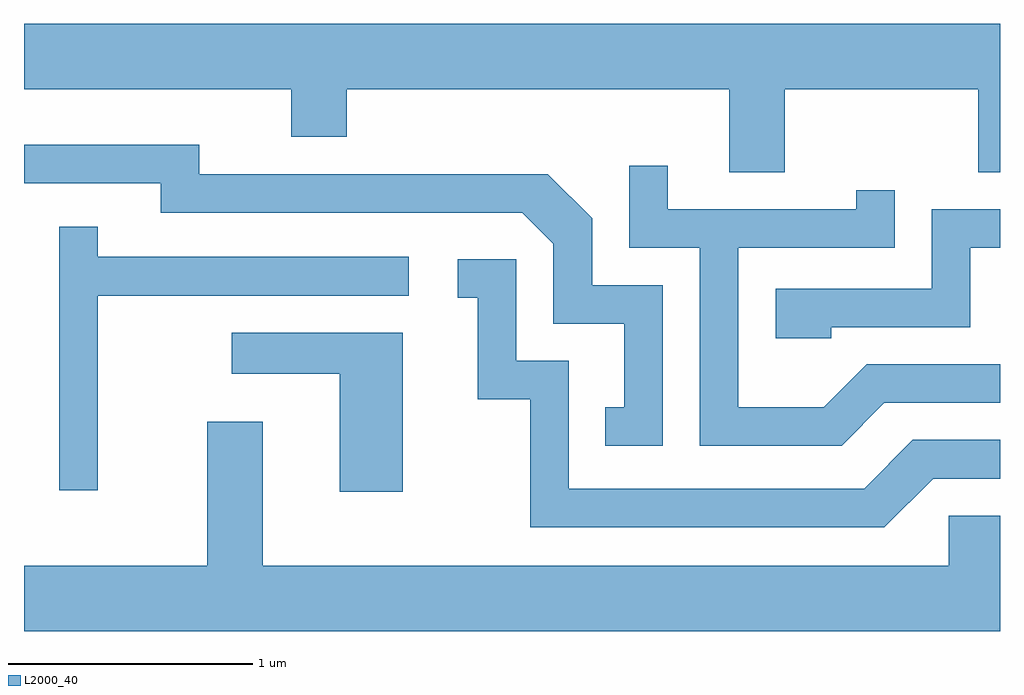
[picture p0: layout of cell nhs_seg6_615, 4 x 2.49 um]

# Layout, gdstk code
import gdstk
lib = gdstk.Library(unit=1e-6, precision=1e-09)
def P(c, l, *ps):  # polygons
    for p in ps: c.add(gdstk.Polygon(p, *l))
L2000_40 = (2000, 40)

nhs_seg6_615 = lib.new_cell('nhs_seg6_615')
P(nhs_seg6_615, L2000_40, [(206.729,1563.356),(207.521,1563.356),(207.521,1563.016),(207.611,1563.016),(207.611,1563.624),(203.611,1563.624),(203.611,1563.356),(204.706,1563.356),(204.706,1563.161),(204.934,1563.161),(204.934,1563.356),(206.501,1563.356),(206.501,1563.016),(206.729,1563.016)],
  [(206.229,1562.554),(205.939,1562.554),(205.939,1562.827),(205.757,1563.009),(204.329,1563.009),(204.329,1563.129),(203.611,1563.129),(203.611,1562.971),(204.171,1562.971),(204.171,1562.851),(205.654,1562.851),(205.781,1562.724),(205.781,1562.396),(206.071,1562.396),(206.071,1562.054),(205.993,1562.054),(205.993,1561.896),(206.229,1561.896)],
  [(207.137,1562.071),(207.611,1562.071),(207.611,1562.229),(207.064,1562.229),(206.889,1562.054),(206.539,1562.054),(206.539,1562.706),(207.179,1562.706),(207.179,1562.943),(207.021,1562.943),(207.021,1562.864),(206.249,1562.864),(206.249,1563.043),(206.091,1563.043),(206.091,1562.706),(206.381,1562.706),(206.381,1561.896),(206.962,1561.896)],
  [(206.919,1562.381),(207.489,1562.381),(207.489,1562.706),(207.611,1562.706),(207.611,1562.864),(207.331,1562.864),(207.331,1562.539),(206.691,1562.539),(206.691,1562.336),(206.919,1562.336)],
  [(203.914,1562.511),(205.188,1562.511),(205.188,1562.669),(203.914,1562.669),(203.914,1562.793),(203.756,1562.793),(203.756,1561.713),(203.914,1561.713)],
  [(207.337,1561.761),(207.611,1561.761),(207.611,1561.919),(207.254,1561.919),(207.054,1561.719),(205.844,1561.719),(205.844,1562.244),(205.629,1562.244),(205.629,1562.659),(205.388,1562.659),(205.388,1562.501),(205.471,1562.501),(205.471,1562.086),(205.686,1562.086),(205.686,1561.561),(207.137,1561.561)],
  [(205.164,1562.359),(204.463,1562.359),(204.463,1562.191),(204.906,1562.191),(204.906,1561.706),(205.164,1561.706)],
  [(207.611,1561.609),(207.401,1561.609),(207.401,1561.404),(204.589,1561.404),(204.589,1561.994),(204.361,1561.994),(204.361,1561.404),(203.611,1561.404),(203.611,1561.136),(207.611,1561.136)])

lib.write_gds('nhs_seg6_615.gds')
